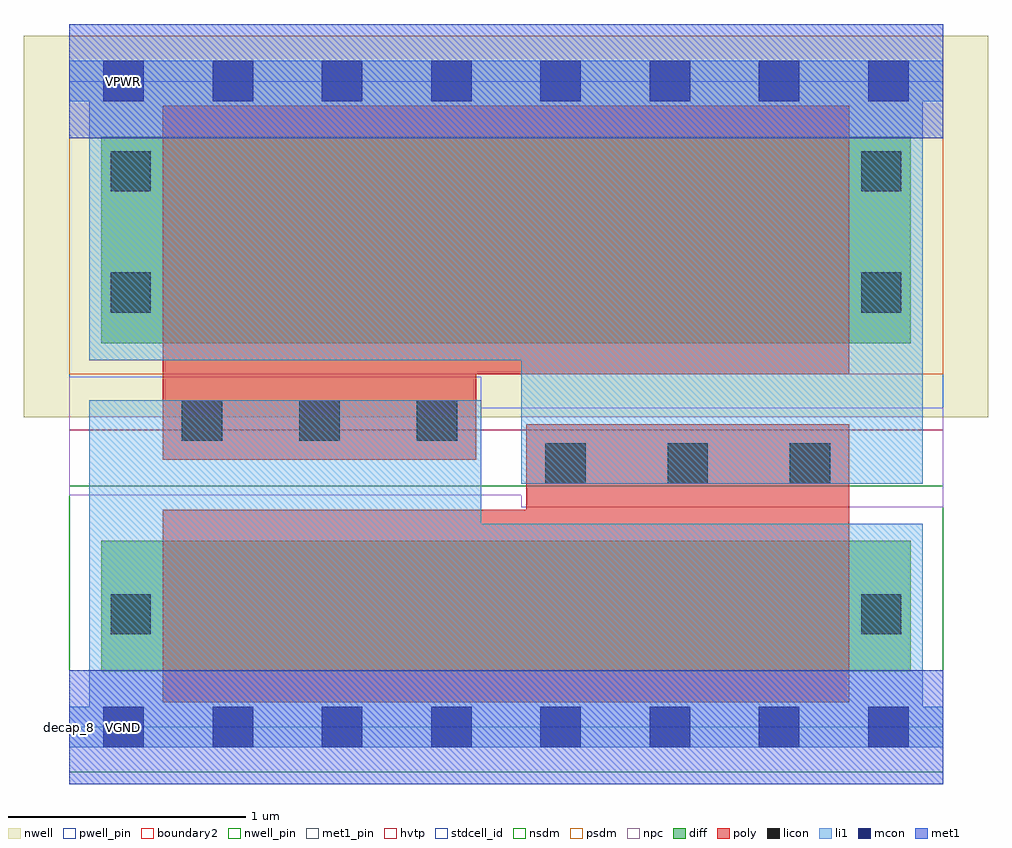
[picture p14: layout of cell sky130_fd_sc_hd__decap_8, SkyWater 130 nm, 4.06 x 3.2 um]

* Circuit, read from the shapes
.subckt sky130_fd_sc_hd__decap_8 VGND VNB VPB VPWR
XM1 VGND VPWR VGND VNB sky130_fd_pr__nfet_01v8 w=0.55 l=2.89
XM2 VPWR VGND VPWR VPB sky130_fd_pr__pfet_01v8_hvt w=0.87 l=2.89
.ends

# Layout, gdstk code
import gdstk
lib = gdstk.Library(unit=1e-6, precision=1e-09)
def R(c, l, rs):  # rectangles x0, y0, x1, y1
    for r in rs: c.add(gdstk.rectangle(r[:2], r[2:], *l))
def A(c, l, x, y, w, h, nx, ny, dx, dy):  # array of equal rectangles
    R(c, l, [(x+i*dx, y+j*dy, x+i*dx+w, y+j*dy+h) for i in range(nx) for j in range(ny)])
def P(c, l, *ps):  # polygons
    for p in ps: c.add(gdstk.Polygon(p, *l))
nwell_pin = (64, 16)
nwell = (64, 20)
diff = (65, 20)
poly = (66, 20)
licon = (66, 44)
li1 = (67, 20)
mcon = (67, 44)
met1_pin = (68, 16)
met1 = (68, 20)
hvtp = (78, 44)
stdcell_id = (81, 4)
nsdm = (93, 44)
psdm = (94, 20)
npc = (95, 20)
pwell_pin = (122, 16)
boundary2 = (236, 0)

sky130_fd_sc_hd__decap_8 = lib.new_cell('sky130_fd_sc_hd__decap_8')
R(sky130_fd_sc_hd__decap_8, nwell_pin, [(0.145,2.635,0.315,2.805)])
R(sky130_fd_sc_hd__decap_8, nwell, [(-0.19,1.305,3.87,2.91)])
R(sky130_fd_sc_hd__decap_8, diff, [(0.135,0.235,3.545,0.785), (0.135,1.615,3.545,2.485)])
P(sky130_fd_sc_hd__decap_8, poly, [(0.395,1.125),(0.395,2.615),(3.285,2.615),(3.285,1.485),(1.715,1.485),(1.715,1.125)],
  [(0.395,0.105),(0.395,0.915),(1.925,0.915),(1.925,1.275),(3.285,1.275),(3.285,0.105)])
A(sky130_fd_sc_hd__decap_8, licon, 2.005, 1.025, 0.17, 0.17, 3, 1, 0.515, 0)
A(sky130_fd_sc_hd__decap_8, licon, 0.475, 1.205, 0.17, 0.17, 3, 1, 0.495, 0)
R(sky130_fd_sc_hd__decap_8, licon, [(0.175,0.39,0.345,0.56), (3.335,0.39,3.505,0.56), (0.175,1.745,0.345,1.915), (3.335,1.745,3.505,1.915), (0.175,2.255,0.345,2.425), (3.335,2.255,3.505,2.425)])
P(sky130_fd_sc_hd__decap_8, li1, [(0,-0.085),(0,0.085),(0.085,0.085),(0.085,1.375),(1.735,1.375),(1.735,0.855),(3.595,0.855),(3.595,0.085),(3.68,0.085),(3.68,-0.085)],
  [(1.905,1.025),(1.905,1.545),(0.085,1.545),(0.085,2.635),(0,2.635),(0,2.805),(3.68,2.805),(3.68,2.635),(3.595,2.635),(3.595,1.025)])
A(sky130_fd_sc_hd__decap_8, mcon, 0.145, -0.085, 0.17, 0.17, 8, 2, 0.46, 2.72)
R(sky130_fd_sc_hd__decap_8, met1_pin, [(0.145,-0.085,0.315,0.085), (0.145,2.635,0.315,2.805)])
R(sky130_fd_sc_hd__decap_8, hvtp, [(0,1.25,3.68,2.72)])
R(sky130_fd_sc_hd__decap_8, stdcell_id, [(0,0,3.68,2.72)])
R(sky130_fd_sc_hd__decap_8, nsdm, [(0,-0.19,3.68,1.015)])
R(sky130_fd_sc_hd__decap_8, psdm, [(0,1.485,3.68,2.91)])
P(sky130_fd_sc_hd__decap_8, npc, [(1.905,0.925),(1.905,0.975),(0,0.975),(0,1.475),(1.735,1.475),(1.735,1.345),(3.68,1.345),(3.68,0.925)])
R(sky130_fd_sc_hd__decap_8, pwell_pin, [(0.145,-0.085,0.315,0.085)])
R(sky130_fd_sc_hd__decap_8, boundary2, [(0,0,3.68,2.72)])
sky130_fd_sc_hd__decap_8.add(gdstk.FlexPath([(0,2.72),(3.68,2.72)], 0.48, ends="flush", simple_path=True, layer=68, datatype=20))  # met1
sky130_fd_sc_hd__decap_8.add(gdstk.FlexPath([(0,0),(3.68,0)], 0.48, ends="flush", simple_path=True, layer=68, datatype=20))  # met1
sky130_fd_sc_hd__decap_8.add(gdstk.Label('VPWR', (0.23,2.72), layer=68, texttype=5))
sky130_fd_sc_hd__decap_8.add(gdstk.Label('VGND', (0.23,0), layer=68, texttype=5))
sky130_fd_sc_hd__decap_8.add(gdstk.Label('VPB', (0.23,2.72), layer=64, texttype=5))
sky130_fd_sc_hd__decap_8.add(gdstk.Label('VNB', (0.23,0), layer=64, texttype=59))
sky130_fd_sc_hd__decap_8.add(gdstk.Label('decap_8', (0,0), layer=83, texttype=44))

lib.write_gds('sky130_fd_sc_hd__decap_8.gds')
